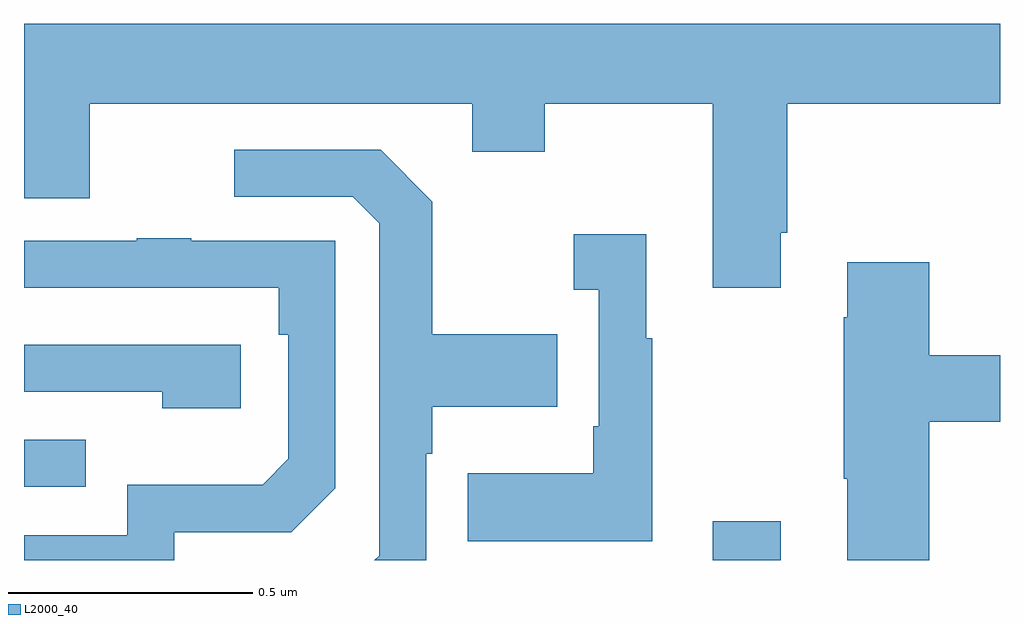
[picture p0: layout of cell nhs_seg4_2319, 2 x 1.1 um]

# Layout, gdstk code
import gdstk
lib = gdstk.Library(unit=1e-6, precision=1e-09)
def R(c, l, rs):  # rectangles x0, y0, x1, y1
    for r in rs: c.add(gdstk.rectangle(r[:2], r[2:], *l))
def P(c, l, *ps):  # polygons
    for p in ps: c.add(gdstk.Polygon(p, *l))
L2000_40 = (2000, 40)

nhs_seg4_2319 = lib.new_cell('nhs_seg4_2319')
R(nhs_seg4_2319, L2000_40, [(140.411,779.9,140.551,779.98), (139,780.051,139.127,780.147)])
P(nhs_seg4_2319, L2000_40, [(140.551,780.571),(140.564,780.571),(140.564,780.836),(141,780.836),(141,781),(139,781),(139,780.642),(139.135,780.642),(139.135,780.836),(139.919,780.836),(139.919,780.737),(140.067,780.737),(140.067,780.836),(140.411,780.836),(140.411,780.459),(140.551,780.459)],
  [(139.824,780.119),(139.837,780.119),(139.837,780.215),(140.093,780.215),(140.093,780.363),(139.837,780.363),(139.837,780.635),(139.731,780.741),(139.431,780.741),(139.431,780.645),(139.674,780.645),(139.728,780.591),(139.728,779.91),(139.718,779.9),(139.824,779.9)],
  [(140.287,780.355),(140.275,780.355),(140.275,780.568),(140.127,780.568),(140.127,780.455),(140.178,780.455),(140.178,780.175),(140.166,780.175),(140.166,780.079),(139.909,780.079),(139.909,779.939),(140.287,779.939)],
  [(139.308,779.958),(139.548,779.958),(139.638,780.048),(139.638,780.555),(139.343,780.555),(139.343,780.56),(139.231,780.56),(139.231,780.555),(139,780.555),(139,780.459),(139.522,780.459),(139.522,780.362),(139.542,780.362),(139.542,780.108),(139.489,780.055),(139.212,780.055),(139.212,779.952),(139,779.952),(139,779.9),(139.308,779.9)],
  [(140.855,780.184),(141,780.184),(141,780.32),(140.855,780.32),(140.855,780.511),(140.687,780.511),(140.687,780.398),(140.68,780.398),(140.68,780.067),(140.687,780.067),(140.687,779.9),(140.855,779.9)],
  [(139.444,780.342),(139,780.342),(139,780.246),(139.283,780.246),(139.283,780.212),(139.444,780.212)])

lib.write_gds('nhs_seg4_2319.gds')
